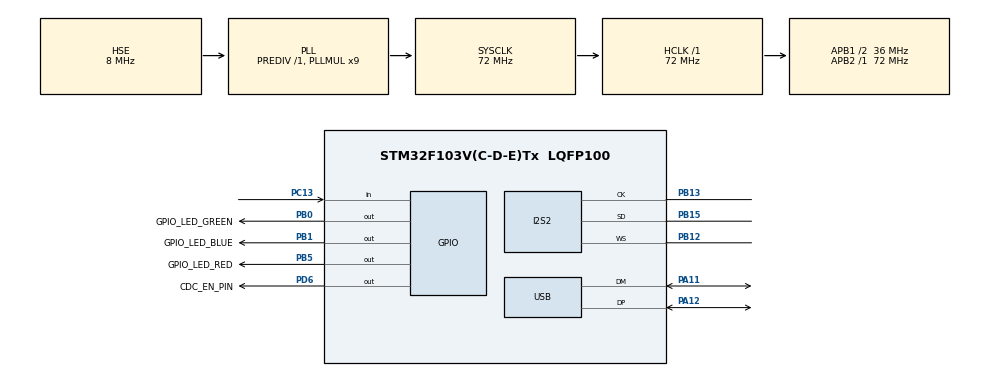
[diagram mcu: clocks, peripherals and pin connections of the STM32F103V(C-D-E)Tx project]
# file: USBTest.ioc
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Dma.Request0=SPI2_RX
Dma.SPI2_RX.0.Direction=DMA_PERIPH_TO_MEMORY
Dma.SPI2_RX.0.Instance=DMA1_Channel4
Dma.SPI2_RX.0.MemDataAlignment=DMA_MDATAALIGN_WORD
Dma.SPI2_RX.0.MemInc=DMA_MINC_ENABLE
Dma.SPI2_RX.0.Mode=DMA_CIRCULAR
Dma.SPI2_RX.0.PeriphDataAlignment=DMA_PDATAALIGN_WORD
Dma.SPI2_RX.0.PeriphInc=DMA_PINC_DISABLE
Dma.SPI2_RX.0.Priority=DMA_PRIORITY_LOW
I2S2.DataFormat=I2S_DATAFORMAT_24B
I2S2.ErrorAudioFreq=-0.27 %
I2S2.Instance=SPI$Index
I2S2.RealAudioFreq=7.978 KHz
I2S2.VirtualMode=I2S_MODE_MASTER
Mcu.Family=STM32F1
Mcu.Name=STM32F103V(C-D-E)Tx
Mcu.Package=LQFP100
NVIC.DMA1_Channel4_IRQn=true\:0\:0\:false\:false\:true\:false\:true\:true
NVIC.PriorityGroup=NVIC_PRIORITYGROUP_4
NVIC.USB_HP_CAN1_TX_IRQn=true\:0\:0\:false\:false\:true\:true\:true\:true
NVIC.USB_LP_CAN1_RX0_IRQn=true\:0\:0\:false\:false\:true\:false\:true\:true
OSC_IN.Mode=HSE-External-Oscillator
OSC_IN.Signal=RCC_OSC_IN
OSC_OUT.Mode=HSE-External-Oscillator
OSC_OUT.Signal=RCC_OSC_OUT
PA11.Mode=Device
PA11.Signal=USB_DM
PA12.Mode=Device
PA12.Signal=USB_DP
PA13.Mode=Serial_Wire
PA13.Signal=SYS_JTMS-SWDIO
PA14.Mode=Serial_Wire
PA14.Signal=SYS_JTCK-SWCLK
PB0.GPIO_Label=GPIO_LED_GREEN
PB0.GPIO_PuPd=GPIO_PULLDOWN
PB0.Signal=GPIO_Output
PB1.GPIO_Label=GPIO_LED_BLUE
PB1.GPIO_PuPd=GPIO_PULLDOWN
PB1.Signal=GPIO_Output
PB12.Mode=Half_Duplex_Master_RX
PB12.Signal=I2S2_WS
PB13.Mode=Half_Duplex_Master_RX
PB13.Signal=I2S2_CK
PB15.Mode=Half_Duplex_Master_RX
PB15.Signal=I2S2_SD
PB5.GPIO_Label=GPIO_LED_RED
PB5.GPIO_PuPd=GPIO_PULLDOWN
PB5.Signal=GPIO_Output
PC13-TAMPER-RTC.GPIO_PuPd=GPIO_PULLDOWN
PC13-TAMPER-RTC.Signal=GPIO_Input
PD6.GPIO_Label=CDC_EN_PIN
PD6.GPIO_PuPd=GPIO_PULLDOWN
PD6.Signal=GPIO_Output
ProjectManager.HeapSize=0x0400
ProjectManager.StackSize=0x400
ProjectManager.TargetToolchain=MDK-ARM V5
RCC.AHBFreq_Value=72000000
RCC.APB1CLKDivider=RCC_HCLK_DIV2
RCC.APB1Freq_Value=36000000
RCC.APB1TimFreq_Value=72000000
RCC.APB2Freq_Value=72000000
RCC.APB2TimFreq_Value=72000000
RCC.HCLKFreq_Value=72000000
RCC.PLLMUL=RCC_PLL_MUL9
RCC.SYSCLKFreq_VALUE=72000000
RCC.SYSCLKSource=RCC_SYSCLKSOURCE_PLLCLK
RCC.USBFreq_Value=48000000
RCC.USBPrescaler=RCC_USBCLKSOURCE_PLL_DIV1_5
USB_DEVICE.CLASS_NAME_FS=CDC
USB_DEVICE.VirtualMode=Cdc
USB_DEVICE.VirtualModeFS=Cdc_FS
VP_USB_DEVICE_VS_USB_DEVICE_CDC_FS.Mode=CDC_FS
board=custom

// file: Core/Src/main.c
/* USER CODE BEGIN Header */
/**
 ******************************************************************************
 * @file           : main.c
 * @brief          : Main program body
 ******************************************************************************
 * @attention
 *
 * Copyright (c) 2023 STMicroelectronics.
 * All rights reserved.
 *
 * This software is licensed under terms that can be found in the LICENSE file
 * in the root directory of this software component.
 * If no LICENSE file comes with this software, it is provided AS-IS.
 *
 ******************************************************************************
 */
/* USER CODE END Header */
#include "main.h"
#include "dma.h"
#include "i2s.h"
#include "usb_device.h"
#include "gpio.h"

void SystemClock_Config(void);

/* USER CODE BEGIN 0 */
uint32_t dma[4];
uint32_t val24;
int val32;
unsigned int cb_cnt = 0;
uint8_t output_flag = 0;

//swap byte order
//example: 0x12345678 -> 0x78563412
int byteSwap(int n)
{
    return ((n & 0xff) << 24) | ((n & 0xff00) << 8) |
           ((n & 0xff0000) >> 8) | ((n >> 24) & 0xff);
}

// i2s receive callback
void HAL_I2S_RxCpltCallback(I2S_HandleTypeDef *hi2s)
{
    if (hi2s == &hi2s2)
    {
        cb_cnt++;
        val24 = (dma[0] << 8) + (dma[1] >> 8);

        if (val24 & 0x800000)
            val32 = 0xff000000 | val24;
        else
            val32 = val24;

        if (cb_cnt % 10 == 0 && output_flag == 1)
        {
            val32 = byteSwap(val32);
            CDC_Transmit_FS((uint8_t *)&val32, 4);
        }
        // unsigned int buf = 0x12345678;
        // buf = byteSwap(buf);
        // if (cb_cnt % 10 == 0 && output_flag == 1) CDC_Transmit_FS((uint8_t *)&buf, 4);
    }
}
/* USER CODE END 0 */

int main(void)
{

    /* MCU Configuration--------------------------------------------------------*/

    /* Reset of all peripherals, Initializes the Flash interface and the Systick. */
    HAL_Init();

    /* Configure the system clock */
    SystemClock_Config();

    /* Initialize all configured peripherals */
    MX_GPIO_Init();
    MX_DMA_Init();
    MX_USB_DEVICE_Init();
    MX_I2S2_Init();

    /* Infinite loop */
    /* USER CODE BEGIN WHILE */
    HAL_I2S_Receive_DMA(&hi2s2, (uint16_t *)dma, 4);
    while (1)
    {
        HAL_Delay(10);
        if (HAL_GPIO_ReadPin(GPIOC, GPIO_PIN_13) == GPIO_PIN_RESET)
            output_flag = 1 - output_flag;
        /* USER CODE END WHILE */

    }
}

void SystemClock_Config(void)
{
    RCC_OscInitTypeDef RCC_OscInitStruct = {0};
    RCC_ClkInitTypeDef RCC_ClkInitStruct = {0};
    RCC_PeriphCLKInitTypeDef PeriphClkInit = {0};

    /** Initializes the RCC Oscillators according to the specified parameters
     * in the RCC_OscInitTypeDef structure.
     */
    RCC_OscInitStruct.OscillatorType = RCC_OSCILLATORTYPE_HSE;
    RCC_OscInitStruct.HSEState = RCC_HSE_ON;
    RCC_OscInitStruct.HSEPredivValue = RCC_HSE_PREDIV_DIV1;
    RCC_OscInitStruct.HSIState = RCC_HSI_ON;
    RCC_OscInitStruct.PLL.PLLState = RCC_PLL_ON;
    RCC_OscInitStruct.PLL.PLLSource = RCC_PLLSOURCE_HSE;
    RCC_OscInitStruct.PLL.PLLMUL = RCC_PLL_MUL9;
    if (HAL_RCC_OscConfig(&RCC_OscInitStruct) != HAL_OK)
    {
        Error_Handler();
    }

    /** Initializes the CPU, AHB and APB buses clocks
     */
    RCC_ClkInitStruct.ClockType = RCC_CLOCKTYPE_HCLK | RCC_CLOCKTYPE_SYSCLK | RCC_CLOCKTYPE_PCLK1 | RCC_CLOCKTYPE_PCLK2;
    RCC_ClkInitStruct.SYSCLKSource = RCC_SYSCLKSOURCE_PLLCLK;
    RCC_ClkInitStruct.AHBCLKDivider = RCC_SYSCLK_DIV1;
    RCC_ClkInitStruct.APB1CLKDivider = RCC_HCLK_DIV2;
    RCC_ClkInitStruct.APB2CLKDivider = RCC_HCLK_DIV1;

    if (HAL_RCC_ClockConfig(&RCC_ClkInitStruct, FLASH_LATENCY_2) != HAL_OK)
    {
        Error_Handler();
    }
    PeriphClkInit.PeriphClockSelection = RCC_PERIPHCLK_I2S2 | RCC_PERIPHCLK_USB;
    PeriphClkInit.I2s2ClockSelection = RCC_I2S2CLKSOURCE_SYSCLK;
    PeriphClkInit.UsbClockSelection = RCC_USBCLKSOURCE_PLL_DIV1_5;
    if (HAL_RCCEx_PeriphCLKConfig(&PeriphClkInit) != HAL_OK)
    {
        Error_Handler();
    }
}

void Error_Handler(void)
{
    __disable_irq();
    while (1)
    {
    }
}
